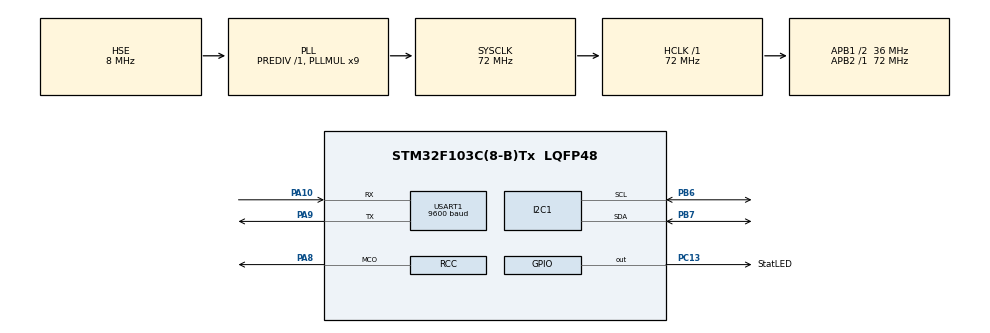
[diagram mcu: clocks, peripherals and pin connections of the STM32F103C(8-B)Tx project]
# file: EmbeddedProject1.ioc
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Dma.I2C1_RX.1.Direction=DMA_PERIPH_TO_MEMORY
Dma.I2C1_RX.1.Instance=DMA1_Channel7
Dma.I2C1_RX.1.MemDataAlignment=DMA_MDATAALIGN_BYTE
Dma.I2C1_RX.1.MemInc=DMA_MINC_ENABLE
Dma.I2C1_RX.1.Mode=DMA_NORMAL
Dma.I2C1_RX.1.PeriphDataAlignment=DMA_PDATAALIGN_BYTE
Dma.I2C1_RX.1.PeriphInc=DMA_PINC_DISABLE
Dma.I2C1_RX.1.Priority=DMA_PRIORITY_LOW
Dma.I2C1_TX.0.Direction=DMA_MEMORY_TO_PERIPH
Dma.I2C1_TX.0.Instance=DMA1_Channel6
Dma.I2C1_TX.0.MemDataAlignment=DMA_MDATAALIGN_BYTE
Dma.I2C1_TX.0.MemInc=DMA_MINC_ENABLE
Dma.I2C1_TX.0.Mode=DMA_NORMAL
Dma.I2C1_TX.0.PeriphDataAlignment=DMA_PDATAALIGN_BYTE
Dma.I2C1_TX.0.PeriphInc=DMA_PINC_DISABLE
Dma.I2C1_TX.0.Priority=DMA_PRIORITY_LOW
Dma.MEMTOMEM.2.Direction=DMA_MEMORY_TO_MEMORY
Dma.MEMTOMEM.2.Instance=DMA1_Channel1
Dma.MEMTOMEM.2.MemDataAlignment=DMA_MDATAALIGN_BYTE
Dma.MEMTOMEM.2.MemInc=DMA_MINC_ENABLE
Dma.MEMTOMEM.2.Mode=DMA_NORMAL
Dma.MEMTOMEM.2.PeriphDataAlignment=DMA_PDATAALIGN_BYTE
Dma.MEMTOMEM.2.PeriphInc=DMA_PINC_ENABLE
Dma.MEMTOMEM.2.Priority=DMA_PRIORITY_LOW
Dma.Request0=I2C1_TX
Dma.Request1=I2C1_RX
Dma.Request2=MEMTOMEM
Dma.Request3=USART1_RX
Dma.Request4=USART1_TX
Dma.USART1_RX.3.Direction=DMA_PERIPH_TO_MEMORY
Dma.USART1_RX.3.Instance=DMA1_Channel5
Dma.USART1_RX.3.MemDataAlignment=DMA_MDATAALIGN_BYTE
Dma.USART1_RX.3.MemInc=DMA_MINC_ENABLE
Dma.USART1_RX.3.Mode=DMA_NORMAL
Dma.USART1_RX.3.PeriphDataAlignment=DMA_PDATAALIGN_BYTE
Dma.USART1_RX.3.PeriphInc=DMA_PINC_DISABLE
Dma.USART1_RX.3.Priority=DMA_PRIORITY_MEDIUM
Dma.USART1_TX.4.Direction=DMA_MEMORY_TO_PERIPH
Dma.USART1_TX.4.Instance=DMA1_Channel4
Dma.USART1_TX.4.MemDataAlignment=DMA_MDATAALIGN_BYTE
Dma.USART1_TX.4.MemInc=DMA_MINC_ENABLE
Dma.USART1_TX.4.Mode=DMA_NORMAL
Dma.USART1_TX.4.PeriphDataAlignment=DMA_PDATAALIGN_BYTE
Dma.USART1_TX.4.PeriphInc=DMA_PINC_DISABLE
Dma.USART1_TX.4.Priority=DMA_PRIORITY_MEDIUM
Mcu.Family=STM32F1
Mcu.Name=STM32F103C(8-B)Tx
Mcu.Package=LQFP48
NVIC.DMA1_Channel1_IRQn=true\:0\:0\:false\:false\:true\:true\:true\:true
NVIC.DMA1_Channel4_IRQn=true\:0\:0\:false\:false\:true\:false\:true\:true
NVIC.DMA1_Channel5_IRQn=true\:0\:0\:false\:false\:true\:false\:true\:true
NVIC.DMA1_Channel6_IRQn=true\:0\:0\:false\:false\:true\:false\:true\:true
NVIC.DMA1_Channel7_IRQn=true\:0\:0\:false\:false\:true\:false\:true\:true
NVIC.I2C1_ER_IRQn=true\:0\:0\:false\:false\:true\:true\:true\:true
NVIC.I2C1_EV_IRQn=true\:0\:0\:false\:false\:true\:true\:true\:true
NVIC.PriorityGroup=NVIC_PRIORITYGROUP_4
NVIC.USART1_IRQn=true\:0\:0\:false\:false\:true\:true\:true\:true
PA10.Mode=Asynchronous
PA10.Signal=USART1_RX
PA13.Mode=Trace_Asynchronous_SW
PA13.Signal=SYS_JTMS-SWDIO
PA14.Mode=Trace_Asynchronous_SW
PA14.Signal=SYS_JTCK-SWCLK
PA8.Mode=Clock-out
PA8.Signal=RCC_MCO
PA9.Mode=Asynchronous
PA9.Signal=USART1_TX
PB3.Mode=Trace_Asynchronous_SW
PB3.Signal=SYS_JTDO-TRACESWO
PB6.Mode=I2C
PB6.Signal=I2C1_SCL
PB7.Mode=I2C
PB7.Signal=I2C1_SDA
PC13-TAMPER-RTC.GPIO_Label=StatLED
PC13-TAMPER-RTC.GPIO_ModeDefaultOutputPP=GPIO_MODE_OUTPUT_OD
PC13-TAMPER-RTC.GPIO_PuPd=GPIO_NOPULL
PC13-TAMPER-RTC.Signal=GPIO_Output
PC14-OSC32_IN.Mode=LSE-External-Oscillator
PC14-OSC32_IN.Signal=RCC_OSC32_IN
PC15-OSC32_OUT.Mode=LSE-External-Oscillator
PC15-OSC32_OUT.Signal=RCC_OSC32_OUT
PD0-OSC_IN.Mode=HSE-External-Oscillator
PD0-OSC_IN.Signal=RCC_OSC_IN
PD1-OSC_OUT.Mode=HSE-External-Oscillator
PD1-OSC_OUT.Signal=RCC_OSC_OUT
ProjectManager.HeapSize=0x200
ProjectManager.StackSize=0x400
ProjectManager.TargetToolchain=STM32CubeIDE
RCC.AHBFreq_Value=72000000
RCC.APB1CLKDivider=RCC_HCLK_DIV2
RCC.APB1Freq_Value=36000000
RCC.APB1TimFreq_Value=72000000
RCC.APB2Freq_Value=72000000
RCC.APB2TimFreq_Value=72000000
RCC.HCLKFreq_Value=72000000
RCC.PLLMUL=RCC_PLL_MUL9
RCC.PLLSourceVirtual=RCC_PLLSOURCE_HSE
RCC.RCC_MCOSource=RCC_MCO1SOURCE_PLLCLK
RCC.SYSCLKFreq_VALUE=72000000
RCC.SYSCLKSource=RCC_SYSCLKSOURCE_PLLCLK
RCC.USBFreq_Value=72000000
USART1.BaudRate=9600
USART1.VirtualMode=VM_ASYNC
board=custom

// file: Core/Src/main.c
/* USER CODE BEGIN Header */
/**
  ******************************************************************************
  * @file           : main.c
  * @brief          : Main program body
  ******************************************************************************
  * @attention
  *
  * Copyright (c) 2023 STMicroelectronics.
  * All rights reserved.
  *
  * This software is licensed under terms that can be found in the LICENSE file
  * in the root directory of this software component.
  * If no LICENSE file comes with this software, it is provided AS-IS.
  *
  ******************************************************************************
  */
/* USER CODE END Header */
#include "main.h"

/* USER CODE BEGIN Includes */
#include "../../def.h"
#include <stdatomic.h>
//#include <stdio.h>
#include "../../SEGGER/SEGGER_RTT.h"

/* USER CODE END Includes */

I2C_HandleTypeDef hi2c1;
DMA_HandleTypeDef hdma_i2c1_tx;
DMA_HandleTypeDef hdma_i2c1_rx;

UART_HandleTypeDef huart1;
DMA_HandleTypeDef hdma_usart1_rx;
DMA_HandleTypeDef hdma_usart1_tx;

DMA_HandleTypeDef hdma_memtomem_dma1_channel1;
/* USER CODE BEGIN PV */
//DMA濠电偞鍨堕幐鏄忋亹閸愵厹浜规繛鎴欏灩缁犳娊鏌曟径娑㈡闁哄棭浜炵槐鎾诲磼濞戞瑥纰嶉梺鍝ュ枎濞�??崇暦閻橀潧濮??
uint8_t dmaRxBufferA[BUFFER_SIZE];
volatile uint8_t dmaRxBufferALock = 0;
//DMA濠电偞鍨堕幐鏄忋亹閸愵厹浜规繛鎴欏灩缁犳娊鏌曟径娑㈡闁哄棭浜炵槐鎾诲磼濞戞瑥纰嶉梺鍝ュ枎濞�??崇暦閻橀潧濮??
uint8_t dmaRxBufferB[BUFFER_SIZE];

//DMA 濠电偞鍨堕幐鏄忋亹閸愵厹浜规繛鎴欏灩閻鏌????婵炶揪缍?濞咃絾寰勯崟顖涚厱闁归偊鍘肩徊濠氭�????
uint8_t dmaTxBuffer[BUFFER_SIZE];
spinlock_t dmaTxBufferLock = { 0};

/// 濠电姭鎷冮崨顓濇闂佸搫妫濇禍璺侯嚕椤愶絽顕遍柡澶嬪灦椤??
volatile uint8_t dmaRxBufferLen = 0;

/* USER CODE END PV */

void SystemClock_Config(void);
static void MX_GPIO_Init(void);
static void MX_DMA_Init(void);
static void MX_USART1_UART_Init(void);
static void MX_I2C1_Init(void);

/* USER CODE BEGIN 0 */

void buffaFreeA(DMA_HandleTypeDef *hdma)
{
	HAL_GPIO_TogglePin(StatLED_GPIO_Port, StatLED_Pin);

	spin_unlock(&gInCmdBufferLock);
	atomic_fetch_add(&gInCmdBufferIdx, dmaRxBufferLen);

}

void errorFreeA(DMA_HandleTypeDef *hdma)
{
	spin_unlock(&gInCmdBufferLock);
}

void HAL_UART_TxCpltCallback(UART_HandleTypeDef *huart)
{
	if (huart->Instance == USART1)
	{
		//SEGGER_RTT_printf(0, "RX:\n");
		//dump(ptr, Size);
		spin_unlock(&dmaTxBufferLock);
	}
}
void HAL_UART_ErrorCallback(UART_HandleTypeDef *huart)
{
	if (huart->Instance == USART1)
	{
		spin_unlock(&dmaTxBufferLock);
	}

}

void dump(void* addr, int len) {
	unsigned char* p = (unsigned char*) addr;
	for (int i = 0; i < len; i += 16) {
		SEGGER_RTT_printf(0,"%08x: ", (unsigned int) p + i);
		for (int j = 0; j < 16; j++) {
			if (i + j < len) {
				SEGGER_RTT_printf(0,"%02x ", p[i + j]);
			}
			else {
				SEGGER_RTT_printf(0,"   ");
			}
			if (j == 7) {
				SEGGER_RTT_printf(0," ");
			}
		}
		SEGGER_RTT_printf(0," ");
		for (int j = 0; j < 16; j++) {
			if (i + j < len) {
				unsigned char c = p[i + j];
				if (c < 32 || c >= 127) {
					c = '.';
				}
				SEGGER_RTT_printf(0,"%c", c);
			}
		}
		SEGGER_RTT_printf(0,"\n");
	}
}

void HAL_UARTEx_RxEventCallback(UART_HandleTypeDef *huart, uint16_t Size)
{
	/* Prevent unused argument(s) compilation warning */
	/* NOTE : This function should not be modified, when the callback is needed,
	          the HAL_UARTEx_RxEventCallback can be implemented in the user file.
	       */
	//uint8_t* ptr = NULL;

	if (huart->Instance == USART1)
	{
		//aRxBufferIdx = Size;
		//HAL_DMA_Start_IT(&hdma_memtomem_dma1_channel1,)
		//SyncReceivedDataToCmdBuffer1(huart->pRxBuffPtr, Size);
		//atomic_store(&m2_SystemTimeout, HAL_GetTick());

		if (huart->RxState ==  HAL_UART_STATE_READY)
		{
			/// 缂傚倷鐒︾粙鎴λ囬婊勵偨闁绘梻鍘ч惌妤併亜閺嶃劎鐭嬮柡??
			while (HAL_DMA_GetState(&hdma_memtomem_dma1_channel1) != HAL_DMA_STATE_READY)
			{

			}
			hdma_memtomem_dma1_channel1.XferCpltCallback = &buffaFreeA;
			hdma_memtomem_dma1_channel1.XferErrorCallback = &errorFreeA;
			dmaRxBufferLen = Size;
			uint8_t* ptr = huart->pRxBuffPtr;

			if (huart->pRxBuffPtr == dmaRxBufferA)
			{
				if (HAL_UARTEx_ReceiveToIdle_DMA(huart, dmaRxBufferB, sizeof(dmaRxBufferB)) != HAL_OK)
				{
					Error_Handler();
				}
			}
			else
			{
				if (HAL_UARTEx_ReceiveToIdle_DMA(huart, dmaRxBufferA, sizeof(dmaRxBufferA)) != HAL_OK)
				{
					Error_Handler();
				}
			}
			//
			//SEGGER_RTT_printf(0, "RX:\n");
			//dump(ptr, Size);

			uint32_t idx = __LDRBT(&gInCmdBufferIdx);
			uint8_t* dstPtr = &mccEvm.gInCmdBuffer[idx];

			spin_lock(&gInCmdBufferLock);
			HAL_DMA_Start_IT(&hdma_memtomem_dma1_channel1, (uint32_t)ptr, (uint32_t)dstPtr, Size);

		}
	}

}

/* USER CODE END 0 */

int main(void)
{

  /* MCU Configuration--------------------------------------------------------*/

  /* Reset of all peripherals, Initializes the Flash interface and the Systick. */
  HAL_Init();

  /* Configure the system clock */
  SystemClock_Config();

  /* Initialize all configured peripherals */
  MX_GPIO_Init();
  MX_DMA_Init();
  MX_USART1_UART_Init();
  MX_I2C1_Init();
  /* USER CODE BEGIN 2 */

	InitBuffer();

	//__HAL_UART_ENABLE_IT(&huart1, UART_IT_IDLE);

	//__HAL_LINKDMA(&huart1, hdmarx, hdma_usart1_rx);

	//HAL_DMA_RegisterCallback(&hdma_usart1_rx,)

	//HAL_UART_Receive_DMA(&huart1, gInCmdBuffer, sizeof(gInCmdBuffer));
	HAL_UARTEx_ReceiveToIdle_DMA(&huart1, dmaRxBufferA,sizeof(dmaRxBufferA));

	//__HAL_DMA_ENABLE_IT()

	//HAL_UARTEx_ReceiveToIdle_IT(&huart1, gInCmdBuffer, sizeof(aRxBuffer));

  /* USER CODE END 2 */

  /* Infinite loop */
  while (1)
  {

    /* USER CODE BEGIN 3 */
	  //SyncReceivedDataToCmdBuffer();

	  ProcessCommand();

	  //HAL_GetTick();

	  /// 闂備礁鎲￠悷锕傚�???婵炶揪绲块弻澶愩?呴锔界厱婵炲棙鐟ч幃鑲╃磼閹插鐣电?规洘锕㈤獮鎾诲箳閹达附顔冮梻浣圭湽閸斿瞼?姘煎弮�?�娊鎮㈤悡搴ｎ�??
	  if (aTxBufferIdx > 0)
	  {

		  spin_lock(&dmaTxBufferLock);
		  uint32_t idx = aTxBufferIdx;
		  memcpy(dmaTxBuffer, aTxBuffer, idx);
		  __STRBT(0, &aTxBufferIdx);

		  //SEGGER_RTT_printf(0, "TX:\n");
		  //dump(dmaTxBuffer, idx);

		  HAL_UART_Transmit_DMA(&huart1, dmaTxBuffer, idx);

		  //ITM_Writes("ABCD", 4);

		  //printf("DCBA");
		  //SEGGER_RTT_printf(0,"abcdef");

	  }

	  if (mccEvm.cmd_received == 1)
	  {
		  mccEvm.cmd_received = 0;
		  mccEvm.EndOfWrite = 1;

		  MCC_Decode();

	  }

  }
  /* USER CODE END 3 */
}

void SystemClock_Config(void)
{
  RCC_OscInitTypeDef RCC_OscInitStruct = {0};
  RCC_ClkInitTypeDef RCC_ClkInitStruct = {0};

  /** Initializes the RCC Oscillators according to the specified parameters
  * in the RCC_OscInitTypeDef structure.
  */
  RCC_OscInitStruct.OscillatorType = RCC_OSCILLATORTYPE_HSE;
  RCC_OscInitStruct.HSEState = RCC_HSE_ON;
  RCC_OscInitStruct.HSEPredivValue = RCC_HSE_PREDIV_DIV1;
  RCC_OscInitStruct.HSIState = RCC_HSI_ON;
  RCC_OscInitStruct.PLL.PLLState = RCC_PLL_ON;
  RCC_OscInitStruct.PLL.PLLSource = RCC_PLLSOURCE_HSE;
  RCC_OscInitStruct.PLL.PLLMUL = RCC_PLL_MUL9;
  if (HAL_RCC_OscConfig(&RCC_OscInitStruct) != HAL_OK)
  {
    Error_Handler();
  }

  /** Initializes the CPU, AHB and APB buses clocks
  */
  RCC_ClkInitStruct.ClockType = RCC_CLOCKTYPE_HCLK|RCC_CLOCKTYPE_SYSCLK
                              |RCC_CLOCKTYPE_PCLK1|RCC_CLOCKTYPE_PCLK2;
  RCC_ClkInitStruct.SYSCLKSource = RCC_SYSCLKSOURCE_PLLCLK;
  RCC_ClkInitStruct.AHBCLKDivider = RCC_SYSCLK_DIV1;
  RCC_ClkInitStruct.APB1CLKDivider = RCC_HCLK_DIV2;
  RCC_ClkInitStruct.APB2CLKDivider = RCC_HCLK_DIV1;

  if (HAL_RCC_ClockConfig(&RCC_ClkInitStruct, FLASH_LATENCY_2) != HAL_OK)
  {
    Error_Handler();
  }
  HAL_RCC_MCOConfig(RCC_MCO, RCC_MCO1SOURCE_PLLCLK, RCC_MCODIV_1);
}

static void MX_I2C1_Init(void)
{

  hi2c1.Instance = I2C1;
  hi2c1.Init.ClockSpeed = 100000;
  hi2c1.Init.DutyCycle = I2C_DUTYCYCLE_2;
  hi2c1.Init.OwnAddress1 = 0;
  hi2c1.Init.AddressingMode = I2C_ADDRESSINGMODE_7BIT;
  hi2c1.Init.DualAddressMode = I2C_DUALADDRESS_DISABLE;
  hi2c1.Init.OwnAddress2 = 0;
  hi2c1.Init.GeneralCallMode = I2C_GENERALCALL_DISABLE;
  hi2c1.Init.NoStretchMode = I2C_NOSTRETCH_DISABLE;
  if (HAL_I2C_Init(&hi2c1) != HAL_OK)
  {
    Error_Handler();
  }

}

static void MX_USART1_UART_Init(void)
{

  huart1.Instance = USART1;
  huart1.Init.BaudRate = 9600;
  huart1.Init.WordLength = UART_WORDLENGTH_8B;
  huart1.Init.StopBits = UART_STOPBITS_1;
  huart1.Init.Parity = UART_PARITY_NONE;
  huart1.Init.Mode = UART_MODE_TX_RX;
  huart1.Init.HwFlowCtl = UART_HWCONTROL_NONE;
  huart1.Init.OverSampling = UART_OVERSAMPLING_16;
  if (HAL_UART_Init(&huart1) != HAL_OK)
  {
    Error_Handler();
  }

}

static void MX_DMA_Init(void)
{

  /* DMA controller clock enable */
  __HAL_RCC_DMA1_CLK_ENABLE();

  /* Configure DMA request hdma_memtomem_dma1_channel1 on DMA1_Channel1 */
  hdma_memtomem_dma1_channel1.Instance = DMA1_Channel1;
  hdma_memtomem_dma1_channel1.Init.Direction = DMA_MEMORY_TO_MEMORY;
  hdma_memtomem_dma1_channel1.Init.PeriphInc = DMA_PINC_ENABLE;
  hdma_memtomem_dma1_channel1.Init.MemInc = DMA_MINC_ENABLE;
  hdma_memtomem_dma1_channel1.Init.PeriphDataAlignment = DMA_PDATAALIGN_BYTE;
  hdma_memtomem_dma1_channel1.Init.MemDataAlignment = DMA_MDATAALIGN_BYTE;
  hdma_memtomem_dma1_channel1.Init.Mode = DMA_NORMAL;
  hdma_memtomem_dma1_channel1.Init.Priority = DMA_PRIORITY_LOW;
  if (HAL_DMA_Init(&hdma_memtomem_dma1_channel1) != HAL_OK)
  {
    Error_Handler( );
  }

  /* DMA interrupt init */
  /* DMA1_Channel1_IRQn interrupt configuration */
  HAL_NVIC_SetPriority(DMA1_Channel1_IRQn, 0, 0);
  HAL_NVIC_EnableIRQ(DMA1_Channel1_IRQn);
  /* DMA1_Channel4_IRQn interrupt configuration */
  HAL_NVIC_SetPriority(DMA1_Channel4_IRQn, 0, 0);
  HAL_NVIC_EnableIRQ(DMA1_Channel4_IRQn);
  /* DMA1_Channel5_IRQn interrupt configuration */
  HAL_NVIC_SetPriority(DMA1_Channel5_IRQn, 0, 0);
  HAL_NVIC_EnableIRQ(DMA1_Channel5_IRQn);
  /* DMA1_Channel6_IRQn interrupt configuration */
  HAL_NVIC_SetPriority(DMA1_Channel6_IRQn, 0, 0);
  HAL_NVIC_EnableIRQ(DMA1_Channel6_IRQn);
  /* DMA1_Channel7_IRQn interrupt configuration */
  HAL_NVIC_SetPriority(DMA1_Channel7_IRQn, 0, 0);
  HAL_NVIC_EnableIRQ(DMA1_Channel7_IRQn);

}

static void MX_GPIO_Init(void)
{
  GPIO_InitTypeDef GPIO_InitStruct = {0};

  /* GPIO Ports Clock Enable */
  __HAL_RCC_GPIOC_CLK_ENABLE();
  __HAL_RCC_GPIOD_CLK_ENABLE();
  __HAL_RCC_GPIOA_CLK_ENABLE();
  __HAL_RCC_GPIOB_CLK_ENABLE();

  /*Configure GPIO pin Output Level */
  HAL_GPIO_WritePin(StatLED_GPIO_Port, StatLED_Pin, GPIO_PIN_RESET);

  /*Configure GPIO pin : StatLED_Pin */
  GPIO_InitStruct.Pin = StatLED_Pin;
  GPIO_InitStruct.Mode = GPIO_MODE_OUTPUT_OD;
  GPIO_InitStruct.Pull = GPIO_NOPULL;
  GPIO_InitStruct.Speed = GPIO_SPEED_FREQ_LOW;
  HAL_GPIO_Init(StatLED_GPIO_Port, &GPIO_InitStruct);

  /*Configure GPIO pin : PA8 */
  GPIO_InitStruct.Pin = GPIO_PIN_8;
  GPIO_InitStruct.Mode = GPIO_MODE_AF_PP;
  GPIO_InitStruct.Speed = GPIO_SPEED_FREQ_LOW;
  HAL_GPIO_Init(GPIOA, &GPIO_InitStruct);

}

void Error_Handler(void)
{
  __disable_irq();
  while (1)
  {
  }
}
